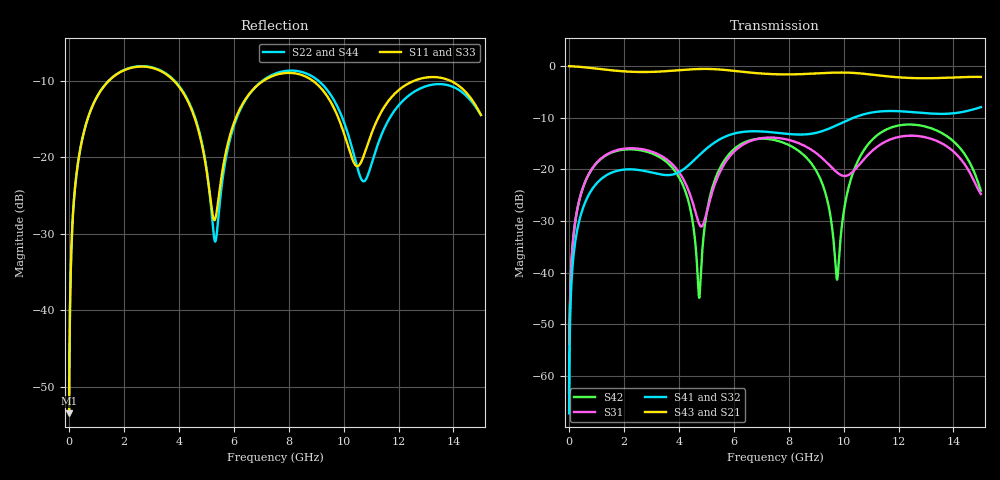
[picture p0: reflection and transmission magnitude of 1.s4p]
! Created with skrf 1.8.0 (http://scikit-rf.org).
# GHz S RI R 50.0
!freq ReS11 ImS11 ReS12 ImS12 ReS13 ImS13
! ReS14 ImS14
! ReS21 ImS21 ReS22 ImS22 ReS23 ImS23
! ReS24 ImS24
! ReS31 ImS31 ReS32 ImS32 ReS33 ImS33
! ReS34 ImS34
! ReS41 ImS41 ReS42 ImS42 ReS43 ImS43
! ReS44 ImS44
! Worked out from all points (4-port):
!   2499 points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, 5 MHz to 15 GHz, reference 50 ohm
!   strongest paths, dB at 5 MHz, 3.476 GHz, 7.19 GHz, 11.1 GHz, 15 GHz:
!     S43: 0.0, -1.0, -1.5, -1.7, -2.1
!     S21: 0.0, -1.0, -1.5, -1.7, -2.1
!     S41: -67.2, -21.1, -12.7, -8.9, -7.9
!     S32: -67.2, -21.1, -12.7, -8.9, -7.9
!     S31: -63.2, -17.7, -13.9, -16.1, -24.8
!     S42: -63.2, -18.2, -14.1, -14.0, -24.1
!   lowest |S11| = -53.5 dB at 5 MHz (marker M1), VSWR 1.00, Z = 50.2 + j0.129 ohm
!   |S11| at or under -10 dB: start of sweep to 1.454 GHz; 3.819 GHz to 7.084 GHz (3.265 GHz wide, 59.9 % of centre); 8.876 GHz to 12.57 GHz (3.697 GHz wide, 34.5 % of centre) (the widest 3 of 4)
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0.005  0.00169 0.00128  0.9983 -0.00329  8.58e-05 0.000689  -8.31e-05 -0.000429
       0.9983 -0.00329  0.00169 0.00128  -8.31e-05 -0.000429  8.56e-05 0.000689
       8.58e-05 0.000689  -8.31e-05 -0.000429  0.00169 0.00128  0.9983 -0.00329
       -8.31e-05 -0.000429  8.56e-05 0.000689  0.9983 -0.00329  0.00169 0.00128
1.619545  0.2908 0.1683  0.4988 -0.757  0.1412 0.0507  -0.0945 0.00235
          0.4988 -0.757  0.2931 0.1666  -0.0945 0.00233  0.135 0.0603
          0.1412 0.0507  -0.0945 0.00233  0.2908 0.1683  0.4988 -0.757
          -0.0945 0.00235  0.135 0.0603  0.4988 -0.757  0.293 0.1667
4.745727  0.0776 -0.1197  -0.8556 -0.3831  -0.0257 -0.0146  -0.052 0.1272
          -0.8556 -0.3831  0.0696 -0.1291  -0.0521 0.1272  0.00536 0.00204
          -0.0257 -0.0146  -0.0521 0.1272  0.0781 -0.1195  -0.8556 -0.3833
          -0.052 0.1272  0.00536 0.00204  -0.8556 -0.3833  0.0691 -0.1292
8.228429  0.3517 -0.0339  -0.00215 0.8309  0.1475 -0.1119  0.2079 -0.0661
          -0.00215 0.8309  0.3649 -0.0417  0.2075 -0.0655  0.1502 -0.0546
          0.1475 -0.1119  0.2075 -0.0655  0.348 -0.0351  -0.00271 0.8324
          0.2079 -0.0661  0.1502 -0.0546  -0.00271 0.8324  0.361 -0.0396
9.760317  0.1465 -0.1203  0.6638 0.5542  -0.0669 -0.0655  0.1651 -0.212
          0.6638 0.5542  0.1494 -0.1572  0.1657 -0.211  0.00818 0.00261
          -0.0669 -0.0655  0.1657 -0.211  0.1411 -0.1165  0.6654 0.5545
          0.1651 -0.212  0.00818 0.00261  0.6654 0.5545  0.1462 -0.1513
11.46103  0.1807 0.1075  0.7602 -0.2591  0.0855 0.1607  -0.1615 -0.3286
          0.7602 -0.2591  0.1291 0.0791  -0.1601 -0.3288  0.1861 0.1451
          0.0855 0.1607  -0.1601 -0.3288  0.1819 0.1134  0.7595 -0.2587
          -0.1615 -0.3286  0.1861 0.1451  0.7595 -0.2587  0.1309 0.0842
15  0.154 -0.1096  -0.524 -0.5836  -0.0405 -0.0413  -0.2888 0.2777
    -0.524 -0.5836  0.166 -0.0902  -0.2896 0.2766  -0.0303 -0.0545
    -0.0405 -0.0413  -0.2896 0.2766  0.1511 -0.1037  -0.5232 -0.586
    -0.2888 0.2777  -0.0303 -0.0545  -0.5232 -0.586  0.1609 -0.086
